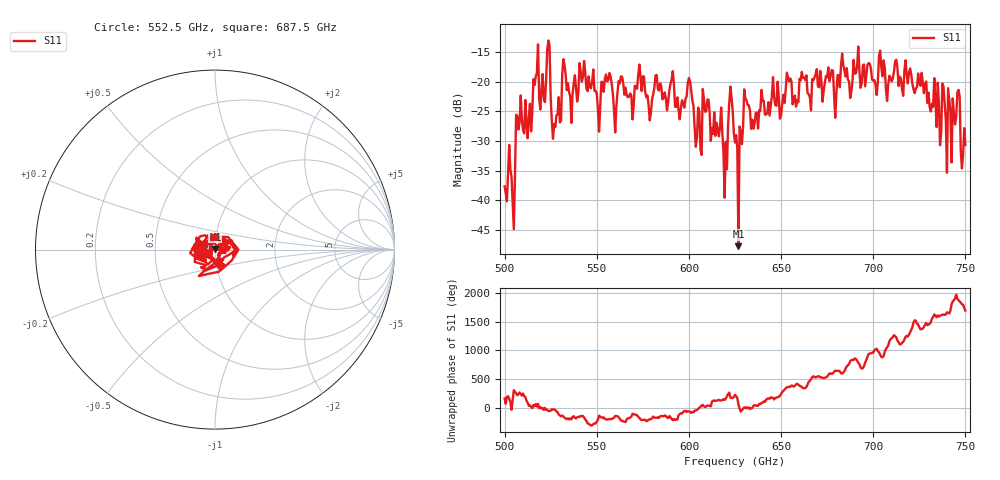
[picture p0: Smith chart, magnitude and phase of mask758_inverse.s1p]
!Created with skrf (http://scikit-rf.org).
# GHz S MA R 50.0
!freq magS11 angS11
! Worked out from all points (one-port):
!   401 points, 500 GHz to 750 GHz, reference 50 ohm
!   lowest |S11| = -47.8 dB at 626.9 GHz (marker M1), VSWR 1.01, Z = 50.2 + j0.349 ohm
!   |S11| at or under -10 dB: start of sweep to end of sweep
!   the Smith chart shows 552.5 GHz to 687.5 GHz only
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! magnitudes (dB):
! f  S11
! 500 GHz  -37.7
! 504.4 GHz  -40.6
! 507.5 GHz  -28.1
! 513.8 GHz  -23.7
! 516.9 GHz  -19.1
! 520.6 GHz  -18.7
! 523.8 GHz  -13.0
! 526.9 GHz  -27.1
! 531.2 GHz  -18.7
! 550.6 GHz  -24.5
! 556.2 GHz  -19.7
! 560 GHz  -28.5
! 562.5 GHz  -20.3
! 593.8 GHz  -22.6
! 600.6 GHz  -19.9
! 605.6 GHz  -25.0
! 608.8 GHz  -25.1
! 619.4 GHz  -39.6
! 622.5 GHz  -20.8
! 625 GHz  -30.2
! 626.9 GHz  -47.8
! 631.2 GHz  -23.1
! 656.2 GHz  -23.8
! 687.5 GHz  -22.7
! 718.8 GHz  -20.3
! 741.2 GHz  -23.0
! 745.6 GHz  -21.8
! 750 GHz  -30.7
